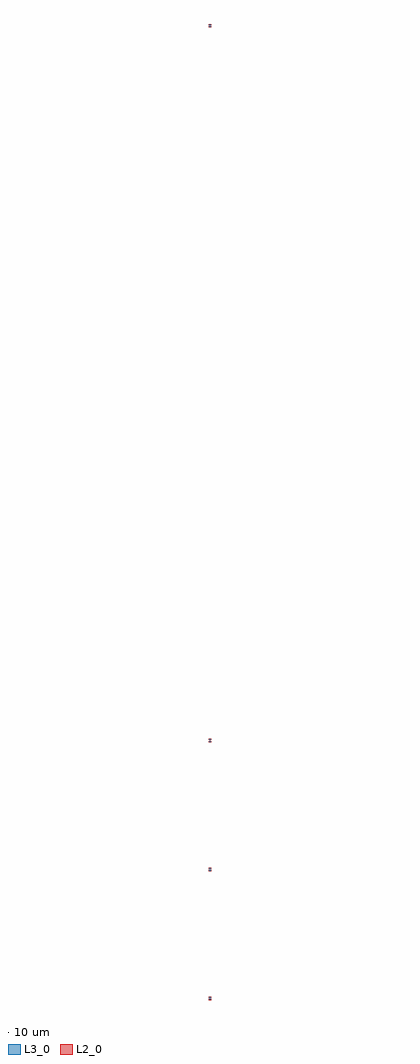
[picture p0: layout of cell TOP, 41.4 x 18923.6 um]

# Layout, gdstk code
import gdstk
lib = gdstk.Library(unit=1e-6, precision=1e-09)
def P(c, l, *ps):  # polygons
    for p in ps: c.add(gdstk.Polygon(p, *l))
L2_0 = (2, 0)
L3_0 = (3, 0)

q9gap = lib.new_cell('Q9GAP')
P(q9gap, L2_0, [(779.3,2253.3),(779.3,2274),(799.04,2284),(799.54,2284),(799.54,2286),(799.74,2286),(799.74,2284),(780,2274),(780,2254),(820,2254),(820,2274),(800.26,2284),(800.26,2286),(797.3,2286),(797.3,2286.2),(796.8,2286.2),(779.3,2296.2),(779.3,2316.2),(780,2316.2),(780,2296.2),(797.5,2286.2),(802.5,2286.2),(820,2296.2),(820,2316.2),(779.3,2316.2),(779.3,2316.9),(820.7,2316.9),(820.7,2296.2),(803.2,2286.2),(802.7,2286.2),(802.7,2286),(800.46,2286),(800.46,2284),(800.96,2284),(820.7,2274),(820.7,2253.3)],
  [(779.3,4753.3),(779.3,4774),(799.04,4784),(799.54,4784),(799.54,4786),(799.74,4786),(799.74,4784),(780,4774),(780,4754),(820,4754),(820,4774),(800.26,4784),(800.26,4786),(797.3,4786),(797.3,4786.2),(796.8,4786.2),(779.3,4796.2),(779.3,4816.2),(780,4816.2),(780,4796.2),(797.5,4786.2),(802.5,4786.2),(820,4796.2),(820,4816.2),(779.3,4816.2),(779.3,4816.9),(820.7,4816.9),(820.7,4796.2),(803.2,4786.2),(802.7,4786.2),(802.7,4786),(800.46,4786),(800.46,4784),(800.96,4784),(820.7,4774),(820.7,4753.3)],
  [(779.3,7253.3),(779.3,7274),(799.04,7284),(799.54,7284),(799.54,7286),(799.74,7286),(799.74,7284),(780,7274),(780,7254),(820,7254),(820,7274),(800.26,7284),(800.26,7286),(797.3,7286),(797.3,7286.2),(796.8,7286.2),(779.3,7296.2),(779.3,7316.2),(780,7316.2),(780,7296.2),(797.5,7286.2),(802.5,7286.2),(820,7296.2),(820,7316.2),(779.3,7316.2),(779.3,7316.9),(820.7,7316.9),(820.7,7296.2),(803.2,7286.2),(802.7,7286.2),(802.7,7286),(800.46,7286),(800.46,7284),(800.96,7284),(820.7,7274),(820.7,7253.3)],
  [(779.3,21113.3),(779.3,21134),(799.04,21144),(799.54,21144),(799.54,21146),(799.74,21146),(799.74,21144),(780,21134),(780,21114),(820,21114),(820,21134),(800.26,21144),(800.26,21146),(797.3,21146),(797.3,21146.2),(796.8,21146.2),(779.3,21156.2),(779.3,21176.2),(780,21176.2),(780,21156.2),(797.5,21146.2),(802.5,21146.2),(820,21156.2),(820,21176.2),(779.3,21176.2),(779.3,21176.9),(820.7,21176.9),(820.7,21156.2),(803.2,21146.2),(802.7,21146.2),(802.7,21146),(800.46,21146),(800.46,21144),(800.96,21144),(820.7,21134),(820.7,21113.3)])

q9pin = lib.new_cell('Q9PIN')
P(q9pin, L3_0, [(780,2254),(780,2274),(799.74,2284),(799.74,2286),(800.26,2286),(800.26,2284),(820,2274),(820,2254)],
  [(797.5,2286.2),(780,2296.2),(780,2316.2),(820,2316.2),(820,2296.2),(802.5,2286.2)],
  [(780,4754),(780,4774),(799.74,4784),(799.74,4786),(800.26,4786),(800.26,4784),(820,4774),(820,4754)],
  [(797.5,4786.2),(780,4796.2),(780,4816.2),(820,4816.2),(820,4796.2),(802.5,4786.2)],
  [(780,7254),(780,7274),(799.74,7284),(799.74,7286),(800.26,7286),(800.26,7284),(820,7274),(820,7254)],
  [(797.5,7286.2),(780,7296.2),(780,7316.2),(820,7316.2),(820,7296.2),(802.5,7286.2)],
  [(780,21114),(780,21134),(799.74,21144),(799.74,21146),(800.26,21146),(800.26,21144),(820,21134),(820,21114)],
  [(797.5,21146.2),(780,21156.2),(780,21176.2),(820,21176.2),(820,21156.2),(802.5,21146.2)])

c_q9 = lib.new_cell('Q9')

top = lib.new_cell('TOP')
top.add(gdstk.Reference(q9gap, (0,0)))
top.add(gdstk.Reference(q9pin, (0,0)))
top.add(gdstk.Reference(c_q9, (0,0)))

lib.write_gds('TOP.gds')
